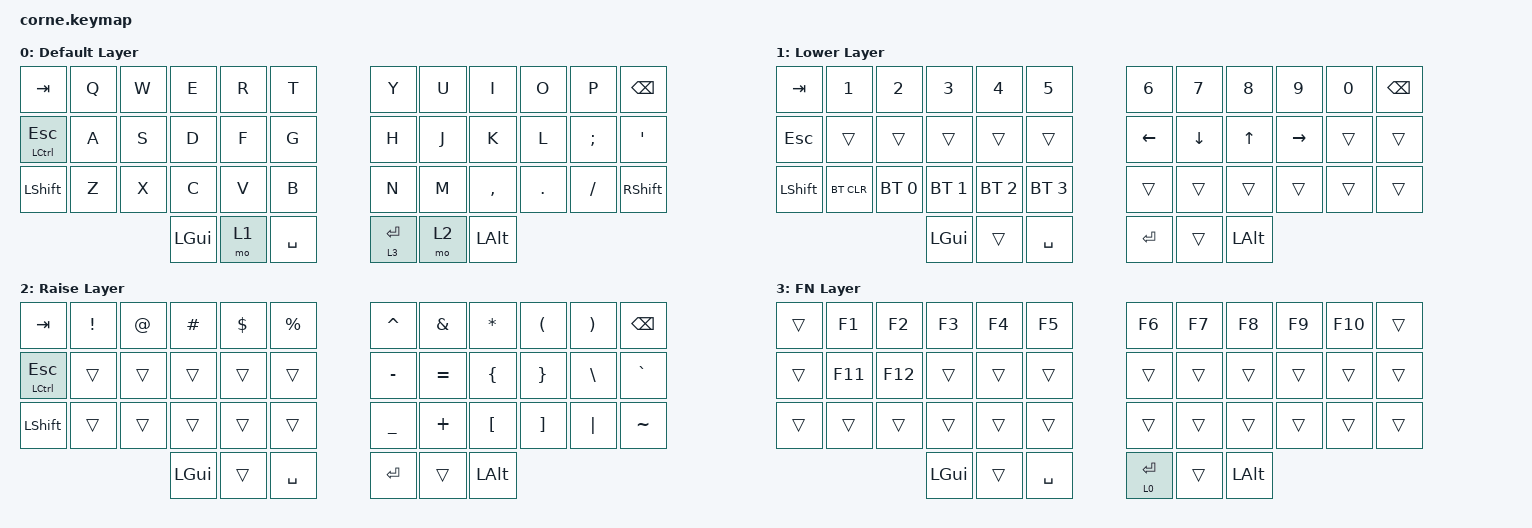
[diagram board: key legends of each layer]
/*
 * Copyright (c) 2020 The ZMK Contributors
 *
 * SPDX-License-Identifier: MIT
 */

#include <behaviors.dtsi>
#include <dt-bindings/zmk/keys.h>
#include <dt-bindings/zmk/bt.h>

/ {
        keymap {
                compatible = "zmk,keymap";

                default_layer {
                        display-name = "Default Layer";
// -----------------------------------------------------------------------------------------
// |  TAB |  Q  |  W  |  E  |  R  |  T  |   |  Y  |  U   |  I  |  O  |  P  | BSPC |
// | CTRL |  A  |  S  |  D  |  F  |  G  |   |  H  |  J   |  K  |  L  |  ;  |  '   |
// | SHFT |  Z  |  X  |  C  |  V  |  B  |   |  N  |  M   |  ,  |  .  |  /  | SHFT  |
//                    | GUI | LWR | SPC |   | ENT | RSE  | ALT |
                        bindings = <
   &kp TAB       &kp Q &kp W &kp E &kp R &kp T   &kp Y &kp U  &kp I     &kp O   &kp P    &kp BSPC
   &mt LCTRL ESC &kp A &kp S &kp D &kp F &kp G   &kp H &kp J  &kp K     &kp L   &kp SEMI &kp SQT
   &kp LSHFT     &kp Z &kp X &kp C &kp V &kp B   &kp N &kp M  &kp COMMA &kp DOT &kp FSLH &kp RSHFT
                   &kp LGUI &mo 1 &kp SPACE  &lt 3 RET &mo 2 &kp LALT
                        >;
                };
                lower_layer {
                        display-name = "Lower Layer";
// -----------------------------------------------------------------------------------------
// |  TAB |  1  |  2  |  3  |  4  |  5  |   |  6  |  7  |  8  |  9  |  0  | BSPC |
// | CTRL |     |     |     |     |     |   |     | LFT | DWN |  UP | RGT |      |
// | SHFT |BTCLR| BT1 | BT2 | BT3 | BT4 |   |     |     |     |     |     |      |
//                    | GUI |     | SPC |   | ENT |     | ALT |
                        bindings = <
   &kp TAB       &kp N1       &kp N2       &kp N3       &kp N4       &kp N5         &kp N6   &kp N7   &kp N8 &kp N9    &kp N0 &kp BSPC
   &kp ESC		 &trans       &trans       &trans       &trans       &trans			&kp LEFT &kp DOWN &kp UP &kp RIGHT &trans &trans
   &kp LSHFT     &bt BT_CLR   &bt BT_SEL 0 &bt BT_SEL 1 &bt BT_SEL 2 &bt BT_SEL 3	&trans   &trans   &trans &trans    &trans &trans
                                        &kp LGUI     &trans       &kp SPACE      &kp RET  &trans   &kp LALT
                        >;
                };

                raise_layer {
                        display-name = "Raise Layer";
// -----------------------------------------------------------------------------------------
// |  TAB |  !  |  @  |  #  |  $  |  %  |   |  ^  |  &  |  *  |  (  |  )  | BSPC |
// | CTRL |     |     |     |     |     |   |  -  |  =  |  [  |  ]  |  \  |  `   |
// | SHFT |     |     |     |     |     |   |  _  |  +  |  {  |  }  | "|" |  ~   |
//                    | GUI |     | SPC |   | ENT |     | ALT |
                        bindings = <
   &kp  TAB      &kp EXCL &kp AT &kp HASH &kp DLLR &kp PRCNT   &kp CARET &kp AMPS  &kp ASTRK &kp LPAR &kp RPAR &kp BSPC
   &mt LCTRL ESC &trans   &trans &trans   &trans   &trans      &kp MINUS &kp EQUAL &kp LBRC  &kp RBRC &kp BSLH &kp GRAVE
   &kp LSHFT     &trans   &trans &trans   &trans   &trans      &kp UNDER &kp PLUS  &kp LBKT  &kp RBKT &kp PIPE &kp TILDE
                             &kp LGUI &trans   &kp SPACE   &kp RET   &trans    &kp LALT
                        >;
                };

				fn_layer {
										display-name = "FN Layer";
// -----------------------------------------------------------------------------------------
// |      | F1  | F2  | F3  | F4  | F5  |   | F6  | F7  | F8  | F9  | F10 |      |
// |      | F11 | F12 |     |     |     |   |     |     |     |     |     |      |
// |      |     |     |     |     |     |   |     |     |     |     |     |      |
//                    | GUI |     | SPC |   | ENT |     | ALT |
						bindings = <
   &trans   &kp F1   &kp F2   &kp F3   &kp F4   &kp F5   &kp F6   &kp F7   &kp F8   &kp F9   &kp F10   &trans
   &trans   &kp F11  &kp F12  &trans   &trans   &trans   &trans   &trans   &trans   &trans    &trans   &trans
   &trans   &trans   &trans   &trans   &trans   &trans   &trans   &trans   &trans   &trans   &trans    &trans
							  &kp LGUI &trans   &kp SPACE   &lt 0 RET &trans  &kp LALT
						>;
				};
		};
};
